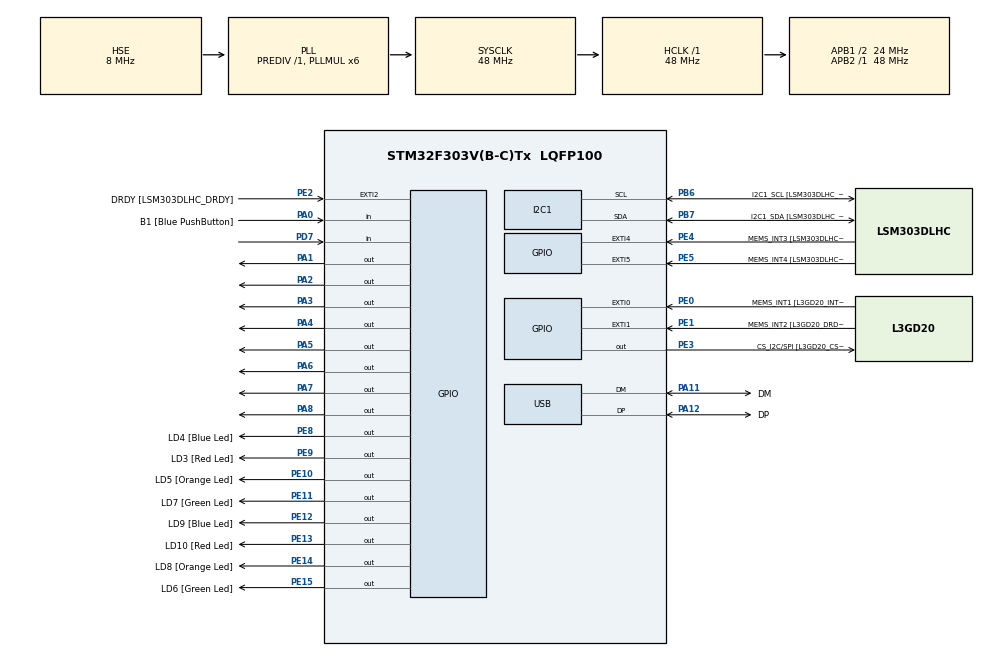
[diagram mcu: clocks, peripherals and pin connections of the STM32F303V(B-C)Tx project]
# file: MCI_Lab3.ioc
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I2C1.Timing=0x2000090E
I2C1.Timing-I2C=0x2000090E
Mcu.Family=STM32F3
Mcu.Name=STM32F303V(B-C)Tx
Mcu.Package=LQFP100
NVIC.PriorityGroup=NVIC_PRIORITYGROUP_0
PA0.GPIO_Label=B1 [Blue PushButton]
PA0.Signal=GPIO_Input
PA1.Signal=GPIO_Output
PA11.GPIO_Label=DM
PA11.Mode=Device
PA11.Signal=USB_DM
PA12.GPIO_Label=DP
PA12.Mode=Device
PA12.Signal=USB_DP
PA13.GPIO_Label=SWDIO
PA13.Mode=Serial_Wire
PA13.Signal=SYS_JTMS-SWDIO
PA14.GPIO_Label=SWCLK
PA14.Mode=Serial_Wire
PA14.Signal=SYS_JTCK-SWCLK
PA2.Signal=GPIO_Output
PA3.Signal=GPIO_Output
PA4.Signal=GPIO_Output
PA5.Signal=GPIO_Output
PA6.Signal=GPIO_Output
PA7.Signal=GPIO_Output
PA8.Signal=GPIO_Output
PB3.GPIO_Label=SWO
PB3.Signal=SYS_JTDO-TRACESWO
PB6.GPIO_Label=I2C1_SCL [LSM303DLHC_SCL]
PB6.GPIO_Pu=GPIO_PULLUP
PB6.Mode=I2C
PB6.Signal=I2C1_SCL
PB7.GPIO_Label=I2C1_SDA [LSM303DLHC_SDA]
PB7.GPIO_Pu=GPIO_PULLUP
PB7.Mode=I2C
PB7.Signal=I2C1_SDA
PC14-OSC32_IN.GPIO_Label=OSC32_IN
PC14-OSC32_IN.Signal=RCC_OSC32_IN
PC15-OSC32_OUT.GPIO_Label=OSC32_OUT
PC15-OSC32_OUT.Signal=RCC_OSC32_OUT
PD7.GPIO_PuPd=GPIO_PULLDOWN
PD7.Signal=GPIO_Input
PE0.GPIO_Label=MEMS_INT1 [L3GD20_INT1]
PE0.GPIO_ModeDefaultEXTI=GPIO_MODE_EVT_RISING
PE0.Signal=GPXTI0
PE1.GPIO_Label=MEMS_INT2 [L3GD20_DRDY/INT2]
PE1.GPIO_ModeDefaultEXTI=GPIO_MODE_EVT_RISING
PE1.Signal=GPXTI1
PE10.GPIO_Label=LD5 [Orange Led]
PE10.Signal=GPIO_Output
PE11.GPIO_Label=LD7 [Green Led]
PE11.Signal=GPIO_Output
PE12.GPIO_Label=LD9 [Blue Led]
PE12.Signal=GPIO_Output
PE13.GPIO_Label=LD10 [Red Led]
PE13.Signal=GPIO_Output
PE14.GPIO_Label=LD8 [Orange Led]
PE14.Signal=GPIO_Output
PE15.GPIO_Label=LD6 [Green Led]
PE15.Signal=GPIO_Output
PE2.GPIO_Label=DRDY [LSM303DLHC_DRDY]
PE2.GPIO_ModeDefaultEXTI=GPIO_MODE_EVT_RISING
PE2.Signal=GPXTI2
PE3.GPIO_Label=CS_I2C/SPI [L3GD20_CS_I2C/SPI]
PE3.Signal=GPIO_Output
PE4.GPIO_Label=MEMS_INT3 [LSM303DLHC_INT1]
PE4.GPIO_ModeDefaultEXTI=GPIO_MODE_EVT_RISING
PE4.Signal=GPXTI4
PE5.GPIO_Label=MEMS_INT4 [LSM303DLHC_INT2]
PE5.GPIO_ModeDefaultEXTI=GPIO_MODE_EVT_RISING
PE5.Signal=GPXTI5
PE8.GPIO_Label=LD4 [Blue Led]
PE8.Signal=GPIO_Output
PE9.GPIO_Label=LD3 [Red Led]
PE9.Signal=GPIO_Output
PF0-OSC_IN.GPIO_Label=OSC_IN
PF0-OSC_IN.Mode=HSE-External-Clock-Source
PF0-OSC_IN.Signal=RCC_OSC_IN
PF1-OSC_OUT.GPIO_Label=OSC_OUT
PF1-OSC_OUT.Signal=RCC_OSC_OUT
ProjectManager.HeapSize=0x200
ProjectManager.StackSize=0x400
ProjectManager.TargetToolchain=CMake
RCC.AHBFreq_Value=48000000
RCC.APB1CLKDivider=RCC_HCLK_DIV2
RCC.APB1Freq_Value=24000000
RCC.APB1TimFreq_Value=48000000
RCC.APB2Freq_Value=48000000
RCC.APB2TimFreq_Value=48000000
RCC.CortexFreq_Value=48000000
RCC.HCLKFreq_Value=48000000
RCC.HSE_VALUE=8000000
RCC.HSI_VALUE=8000000
RCC.LSE_VALUE=32768
RCC.PLLMUL=RCC_PLL_MUL6
RCC.SYSCLKFreq_VALUE=48000000
RCC.SYSCLKSourceVirtual=RCC_SYSCLKSOURCE_PLLCLK
RCC.USBFreq_Value=48000000
board=STM32F3DISCOVERY

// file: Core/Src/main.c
/* USER CODE BEGIN Header */
/**
  ******************************************************************************
  * @file           : main.c
  * @brief          : Main program body
  ******************************************************************************
  * @attention
  *
  * Copyright (c) 2026 STMicroelectronics.
  * All rights reserved.
  *
  * This software is licensed under terms that can be found in the LICENSE file
  * in the root directory of this software component.
  * If no LICENSE file comes with this software, it is provided AS-IS.
  *
  ******************************************************************************
  */
/* USER CODE END Header */
#include "main.h"

/* USER CODE BEGIN Includes */
#include <stdlib.h>
/* USER CODE END Includes */

/* USER CODE BEGIN PD */
#define DEBOUNCE_DELAY 50

/* USER CODE END PD */

I2C_HandleTypeDef hi2c1;

PCD_HandleTypeDef hpcd_USB_FS;

void SystemClock_Config(void);
static void MX_GPIO_Init(void);
static void MX_I2C1_Init(void);
static void MX_USB_PCD_Init(void);

/* USER CODE BEGIN 0 */

  uint8_t hexNums[16] = {0x3F, 0x06, 0x5B, 0x4F, 0x66, 0x6D, 0x7D, 0x07, 0x7F, 0x6F, 0x77, 0x7C, 0x39, 0x5E, 0x79, 0x71};

  uint16_t segmentPins[7] = {GPIO_PIN_1, GPIO_PIN_2, GPIO_PIN_3, GPIO_PIN_4, GPIO_PIN_5, GPIO_PIN_6, GPIO_PIN_7};

  void seven_segment_display(uint8_t number){
  uint8_t num = hexNums[number];
  for (uint8_t i = 0; i < 7; i++)
  {
    uint8_t bit = (num >> i) & 0x01;
    if (bit == 0){
      HAL_GPIO_WritePin(GPIOA, segmentPins[i], GPIO_PIN_SET);
    }
    else{
      HAL_GPIO_WritePin(GPIOA, segmentPins[i], GPIO_PIN_RESET);
    }

  }
  }

  uint8_t student_id[5] = {1, 0, 6, 0, 0};

  uint8_t idIndex = 0;

void display_student_id(void)
{
    if (HAL_GPIO_ReadPin(GPIOA, GPIO_PIN_0)) // USER button pressed
    {
        seven_segment_display(student_id[idIndex]);

        idIndex = (idIndex + 1) % (sizeof(student_id) / sizeof(student_id[0]));

        HAL_Delay(300); // simple debounce
        while (HAL_GPIO_ReadPin(GPIOA, GPIO_PIN_0)); // wait for button release
    }
}

int8_t counter = 0;

void dual_button_counter(void)
{
    if (HAL_GPIO_ReadPin(GPIOA, GPIO_PIN_0)) // USER button = +1
    {
        counter++;
        if (counter > 15) counter = 15; // clamp to max displayable digit (F)

        seven_segment_display(counter);

        HAL_Delay(300); // debounce
        while (HAL_GPIO_ReadPin(GPIOA, GPIO_PIN_0)); // wait for release
    }
    else if (HAL_GPIO_ReadPin(GPIOD, GPIO_PIN_7)) // external button = -1
    {
        counter--;
        if (counter < 0) counter = 0; // clamp to min

        seven_segment_display(counter);

        HAL_Delay(300); // debounce
        while (HAL_GPIO_ReadPin(GPIOD, GPIO_PIN_7)); // wait for release
    }
}

void rand_digit_display(void)
{
   if (HAL_GPIO_ReadPin(GPIOA, GPIO_PIN_0)){
    uint8_t random_digit = rand() % 6;
    seven_segment_display(random_digit);
    HAL_Delay(1000); // display for 1 second
   }
}

/* USER CODE END 0 */

int main(void)
{

  /* MCU Configuration--------------------------------------------------------*/

  /* Reset of all peripherals, Initializes the Flash interface and the Systick. */
  HAL_Init();

  /* Configure the system clock */
  SystemClock_Config();

  /* Initialize all configured peripherals */
  MX_GPIO_Init();
  MX_I2C1_Init();
  MX_USB_PCD_Init();

  /* Infinite loop */
  while (1)
  {
    //display_student_id();
    //dual_button_counter();
    rand_digit_display();
  }
}

void SystemClock_Config(void)
{
  RCC_OscInitTypeDef RCC_OscInitStruct = {0};
  RCC_ClkInitTypeDef RCC_ClkInitStruct = {0};
  RCC_PeriphCLKInitTypeDef PeriphClkInit = {0};

  /** Initializes the RCC Oscillators according to the specified parameters
  * in the RCC_OscInitTypeDef structure.
  */
  RCC_OscInitStruct.OscillatorType = RCC_OSCILLATORTYPE_HSI|RCC_OSCILLATORTYPE_HSE;
  RCC_OscInitStruct.HSEState = RCC_HSE_BYPASS;
  RCC_OscInitStruct.HSEPredivValue = RCC_HSE_PREDIV_DIV1;
  RCC_OscInitStruct.HSIState = RCC_HSI_ON;
  RCC_OscInitStruct.HSICalibrationValue = RCC_HSICALIBRATION_DEFAULT;
  RCC_OscInitStruct.PLL.PLLState = RCC_PLL_ON;
  RCC_OscInitStruct.PLL.PLLSource = RCC_PLLSOURCE_HSE;
  RCC_OscInitStruct.PLL.PLLMUL = RCC_PLL_MUL6;
  if (HAL_RCC_OscConfig(&RCC_OscInitStruct) != HAL_OK)
  {
    Error_Handler();
  }

  /** Initializes the CPU, AHB and APB buses clocks
  */
  RCC_ClkInitStruct.ClockType = RCC_CLOCKTYPE_HCLK|RCC_CLOCKTYPE_SYSCLK
                              |RCC_CLOCKTYPE_PCLK1|RCC_CLOCKTYPE_PCLK2;
  RCC_ClkInitStruct.SYSCLKSource = RCC_SYSCLKSOURCE_PLLCLK;
  RCC_ClkInitStruct.AHBCLKDivider = RCC_SYSCLK_DIV1;
  RCC_ClkInitStruct.APB1CLKDivider = RCC_HCLK_DIV2;
  RCC_ClkInitStruct.APB2CLKDivider = RCC_HCLK_DIV1;

  if (HAL_RCC_ClockConfig(&RCC_ClkInitStruct, FLASH_LATENCY_1) != HAL_OK)
  {
    Error_Handler();
  }
  PeriphClkInit.PeriphClockSelection = RCC_PERIPHCLK_USB|RCC_PERIPHCLK_I2C1;
  PeriphClkInit.I2c1ClockSelection = RCC_I2C1CLKSOURCE_HSI;
  PeriphClkInit.USBClockSelection = RCC_USBCLKSOURCE_PLL;
  if (HAL_RCCEx_PeriphCLKConfig(&PeriphClkInit) != HAL_OK)
  {
    Error_Handler();
  }
}

static void MX_I2C1_Init(void)
{

  hi2c1.Instance = I2C1;
  hi2c1.Init.Timing = 0x2000090E;
  hi2c1.Init.OwnAddress1 = 0;
  hi2c1.Init.AddressingMode = I2C_ADDRESSINGMODE_7BIT;
  hi2c1.Init.DualAddressMode = I2C_DUALADDRESS_DISABLE;
  hi2c1.Init.OwnAddress2 = 0;
  hi2c1.Init.OwnAddress2Masks = I2C_OA2_NOMASK;
  hi2c1.Init.GeneralCallMode = I2C_GENERALCALL_DISABLE;
  hi2c1.Init.NoStretchMode = I2C_NOSTRETCH_DISABLE;
  if (HAL_I2C_Init(&hi2c1) != HAL_OK)
  {
    Error_Handler();
  }

  /** Configure Analogue filter
  */
  if (HAL_I2CEx_ConfigAnalogFilter(&hi2c1, I2C_ANALOGFILTER_ENABLE) != HAL_OK)
  {
    Error_Handler();
  }

  /** Configure Digital filter
  */
  if (HAL_I2CEx_ConfigDigitalFilter(&hi2c1, 0) != HAL_OK)
  {
    Error_Handler();
  }

}

static void MX_USB_PCD_Init(void)
{

  hpcd_USB_FS.Instance = USB;
  hpcd_USB_FS.Init.dev_endpoints = 8;
  hpcd_USB_FS.Init.speed = PCD_SPEED_FULL;
  hpcd_USB_FS.Init.phy_itface = PCD_PHY_EMBEDDED;
  hpcd_USB_FS.Init.low_power_enable = DISABLE;
  hpcd_USB_FS.Init.battery_charging_enable = DISABLE;
  if (HAL_PCD_Init(&hpcd_USB_FS) != HAL_OK)
  {
    Error_Handler();
  }

}

static void MX_GPIO_Init(void)
{
  GPIO_InitTypeDef GPIO_InitStruct = {0};

  /* GPIO Ports Clock Enable */
  __HAL_RCC_GPIOE_CLK_ENABLE();
  __HAL_RCC_GPIOC_CLK_ENABLE();
  __HAL_RCC_GPIOF_CLK_ENABLE();
  __HAL_RCC_GPIOA_CLK_ENABLE();
  __HAL_RCC_GPIOD_CLK_ENABLE();
  __HAL_RCC_GPIOB_CLK_ENABLE();

  /*Configure GPIO pin Output Level */
  HAL_GPIO_WritePin(GPIOE, CS_I2C_SPI_Pin|LD4_Pin|LD3_Pin|LD5_Pin
                          |LD7_Pin|LD9_Pin|LD10_Pin|LD8_Pin
                          |LD6_Pin, GPIO_PIN_RESET);

  /*Configure GPIO pin Output Level */
  HAL_GPIO_WritePin(GPIOA, GPIO_PIN_1|GPIO_PIN_2|GPIO_PIN_3|GPIO_PIN_4
                          |GPIO_PIN_5|GPIO_PIN_6|GPIO_PIN_7|GPIO_PIN_8, GPIO_PIN_RESET);

  /*Configure GPIO pins : DRDY_Pin MEMS_INT3_Pin MEMS_INT4_Pin MEMS_INT1_Pin
                           MEMS_INT2_Pin */
  GPIO_InitStruct.Pin = DRDY_Pin|MEMS_INT3_Pin|MEMS_INT4_Pin|MEMS_INT1_Pin
                          |MEMS_INT2_Pin;
  GPIO_InitStruct.Mode = GPIO_MODE_EVT_RISING;
  GPIO_InitStruct.Pull = GPIO_NOPULL;
  HAL_GPIO_Init(GPIOE, &GPIO_InitStruct);

  /*Configure GPIO pins : CS_I2C_SPI_Pin LD4_Pin LD3_Pin LD5_Pin
                           LD7_Pin LD9_Pin LD10_Pin LD8_Pin
                           LD6_Pin */
  GPIO_InitStruct.Pin = CS_I2C_SPI_Pin|LD4_Pin|LD3_Pin|LD5_Pin
                          |LD7_Pin|LD9_Pin|LD10_Pin|LD8_Pin
                          |LD6_Pin;
  GPIO_InitStruct.Mode = GPIO_MODE_OUTPUT_PP;
  GPIO_InitStruct.Pull = GPIO_NOPULL;
  GPIO_InitStruct.Speed = GPIO_SPEED_FREQ_LOW;
  HAL_GPIO_Init(GPIOE, &GPIO_InitStruct);

  /*Configure GPIO pin : B1_Pin */
  GPIO_InitStruct.Pin = B1_Pin;
  GPIO_InitStruct.Mode = GPIO_MODE_INPUT;
  GPIO_InitStruct.Pull = GPIO_NOPULL;
  HAL_GPIO_Init(B1_GPIO_Port, &GPIO_InitStruct);

  /*Configure GPIO pins : PA1 PA2 PA3 PA4
                           PA5 PA6 PA7 PA8 */
  GPIO_InitStruct.Pin = GPIO_PIN_1|GPIO_PIN_2|GPIO_PIN_3|GPIO_PIN_4
                          |GPIO_PIN_5|GPIO_PIN_6|GPIO_PIN_7|GPIO_PIN_8;
  GPIO_InitStruct.Mode = GPIO_MODE_OUTPUT_PP;
  GPIO_InitStruct.Pull = GPIO_NOPULL;
  GPIO_InitStruct.Speed = GPIO_SPEED_FREQ_LOW;
  HAL_GPIO_Init(GPIOA, &GPIO_InitStruct);

  /*Configure GPIO pin : PD7 */
  GPIO_InitStruct.Pin = GPIO_PIN_7;
  GPIO_InitStruct.Mode = GPIO_MODE_INPUT;
  GPIO_InitStruct.Pull = GPIO_PULLDOWN;
  HAL_GPIO_Init(GPIOD, &GPIO_InitStruct);

}

void Error_Handler(void)
{
  __disable_irq();
  while (1)
  {
  }
}
